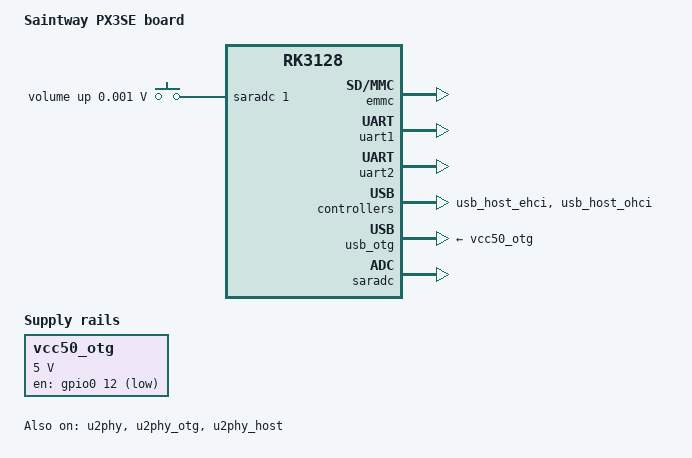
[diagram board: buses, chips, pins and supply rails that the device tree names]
/*
 * (C) Copyright 2018 Rockchip Electronics Co., Ltd
 *
 * SPDX-License-Identifier:     GPL-2.0+
 */

/dts-v1/;

#include "rk3128.dtsi"
#include "rk3128-u-boot.dtsi"
#include <dt-bindings/input/input.h>

/ {
	model = "Saintway PX3SE board";
	compatible = "px3se-saintway";

	chosen {
		stdout-path = &uart2;
	};

       adc-keys {
               compatible = "adc-keys";
               io-channels = <&saradc 1>;

               volup-key {
                       linux,code = <KEY_VOLUMEUP>;
                       label = "volume up";
                       press-threshold-microvolt = <1000>;
               };
       };

	vcc50_otg: vcc50-otg {
		compatible = "regulator-fixed";
		regulator-name = "vcc50_otg";
		gpio = <&gpio0 12 GPIO_ACTIVE_HIGH>;
		pinctrl-names = "default";
		pinctrl-0 = <&otg_drv>;
		regulator-min-microvolt = <5000000>;
		regulator-max-microvolt = <5000000>;
	};
};

&emmc {
	fifo-mode;
	status = "okay";
};

&u2phy {
	status = "okay";
};

&u2phy_otg {
	status = "okay";
};

&u2phy_host {
	status = "okay";
};

&uart1 {
	clock-frequency = <24000000>;
	u-boot,dm-pre-reloc;
	status = "okay";
};

&uart2 {
	clock-frequency = <24000000>;
	u-boot,dm-pre-reloc;
	status = "okay";
};


&usb_host_ehci {
	status = "okay";
};

&usb_host_ohci {
	status = "okay";
};

&usb_otg {
	vbus-supply = <&vcc50_otg>;
	status = "okay";
};

&saradc {
       status = "okay";
};

&pinctrl {
	usb_otg {
		otg_drv: otg-drv {
			rockchip,pins = <2 12 RK_FUNC_GPIO &pcfg_pull_none>;
		};
	};
};
